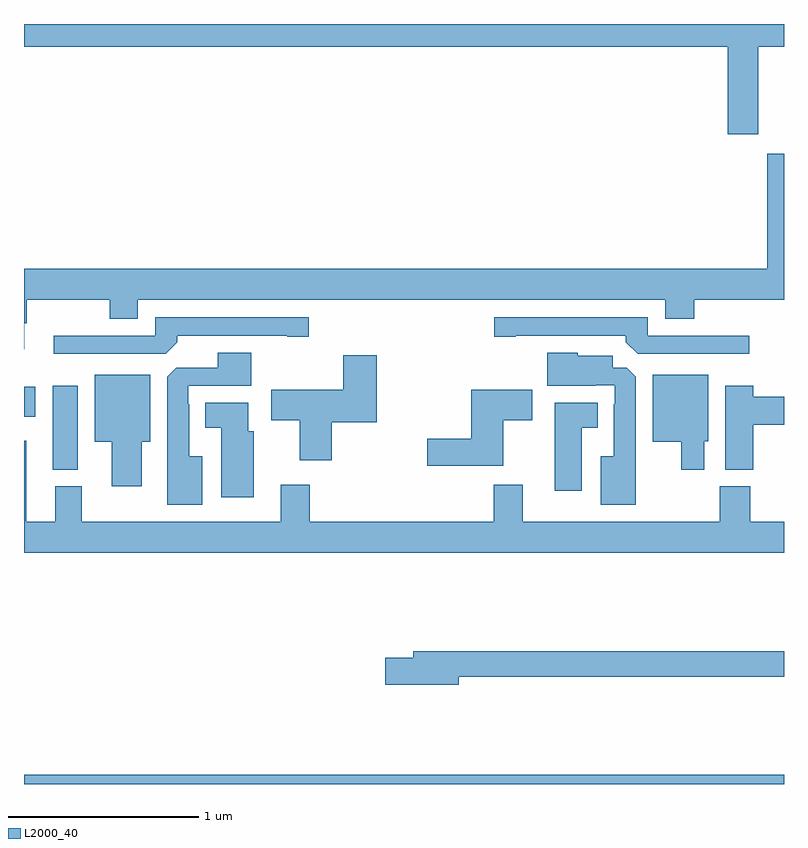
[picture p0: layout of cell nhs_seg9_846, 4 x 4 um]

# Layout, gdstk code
import gdstk
lib = gdstk.Library(unit=1e-6, precision=1e-09)
def R(c, l, rs):  # rectangles x0, y0, x1, y1
    for r in rs: c.add(gdstk.rectangle(r[:2], r[2:], *l))
def P(c, l, *ps):  # polygons
    for p in ps: c.add(gdstk.Polygon(p, *l))
L2000_40 = (2000, 40)

nhs_seg9_846 = lib.new_cell('nhs_seg9_846')
R(nhs_seg9_846, L2000_40, [(155,1232.5,159,1232.548), (155.15,1234.153,155.284,1234.597), (155,1234.433,155.059,1234.591)])
P(nhs_seg9_846, L2000_40, [(158.865,1236.38),(159,1236.38),(159,1236.5),(155,1236.5),(155,1236.38),(158.705,1236.38),(158.705,1235.919),(158.865,1235.919)],
  [(155.002,1234.926),(155.014,1234.926),(155.014,1235.048),(155.452,1235.048),(155.452,1234.949),(155.599,1234.949),(155.599,1235.048),(158.375,1235.048),(158.375,1234.949),(158.528,1234.949),(158.528,1235.048),(159,1235.048),(159,1235.818),(158.912,1235.818),(158.912,1235.212),(155,1235.212),(155,1234.788),(155.002,1234.788)],
  [(158.818,1234.86),(158.283,1234.86),(158.283,1234.956),(157.476,1234.956),(157.476,1234.855),(157.588,1234.855),(157.588,1234.86),(158.168,1234.86),(158.168,1234.826),(158.229,1234.764),(158.818,1234.764)],
  [(155.807,1234.826),(155.807,1234.86),(156.386,1234.86),(156.386,1234.855),(156.499,1234.855),(156.499,1234.956),(155.691,1234.956),(155.691,1234.86),(155.157,1234.86),(155.157,1234.764),(155.745,1234.764)],
  [(155.938,1234.225),(155.869,1234.225),(155.869,1234.499),(155.865,1234.499),(155.865,1234.596),(156.196,1234.596),(156.196,1234.771),(156.02,1234.771),(156.02,1234.692),(155.802,1234.692),(155.753,1234.643),(155.753,1233.971),(155.938,1233.971)],
  [(158.221,1234.643),(158.172,1234.692),(158.098,1234.692),(158.098,1234.753),(157.914,1234.753),(157.914,1234.771),(157.754,1234.771),(157.754,1234.595),(158.009,1234.595),(158.009,1234.599),(158.109,1234.599),(158.109,1234.499),(158.105,1234.499),(158.105,1234.225),(158.036,1234.225),(158.036,1233.971),(158.221,1233.971)],
  [(156.62,1234.403),(156.857,1234.403),(156.857,1234.756),(156.679,1234.756),(156.679,1234.576),(156.3,1234.576),(156.3,1234.414),(156.452,1234.414),(156.452,1234.203),(156.62,1234.203)],
  [(155.62,1234.301),(155.665,1234.301),(155.665,1234.654),(155.372,1234.654),(155.372,1234.301),(155.462,1234.301),(155.462,1234.068),(155.62,1234.068)],
  [(158.581,1234.305),(158.602,1234.305),(158.602,1234.654),(158.309,1234.654),(158.309,1234.301),(158.459,1234.301),(158.459,1234.155),(158.581,1234.155)],
  [(158.837,1234.391),(159,1234.391),(159,1234.538),(158.837,1234.538),(158.837,1234.597),(158.69,1234.597),(158.69,1234.153),(158.837,1234.153)],
  [(157.522,1234.414),(157.675,1234.414),(157.675,1234.576),(157.355,1234.576),(157.355,1234.316),(157.122,1234.316),(157.122,1234.174),(157.522,1234.174)],
  [(156.208,1234.356),(156.181,1234.356),(156.181,1234.507),(155.954,1234.507),(155.954,1234.376),(156.038,1234.376),(156.038,1234.008),(156.208,1234.008)],
  [(157.936,1234.376),(158.02,1234.376),(158.02,1234.507),(157.793,1234.507),(157.793,1234.044),(157.936,1234.044)],
  [(159,1233.88),(158.822,1233.88),(158.822,1234.068),(158.662,1234.068),(158.662,1233.88),(157.624,1233.88),(157.624,1234.075),(157.472,1234.075),(157.472,1233.88),(156.503,1233.88),(156.503,1234.075),(156.35,1234.075),(156.35,1233.88),(155.305,1233.88),(155.305,1234.068),(155.165,1234.068),(155.165,1233.88),(155.011,1233.88),(155.011,1234.306),(155,1234.306),(155,1233.716),(159,1233.716)],
  [(157.288,1233.064),(159,1233.064),(159,1233.2),(157.049,1233.2),(157.049,1233.164),(156.9,1233.164),(156.9,1233.022),(157.288,1233.022)])

lib.write_gds('nhs_seg9_846.gds')
